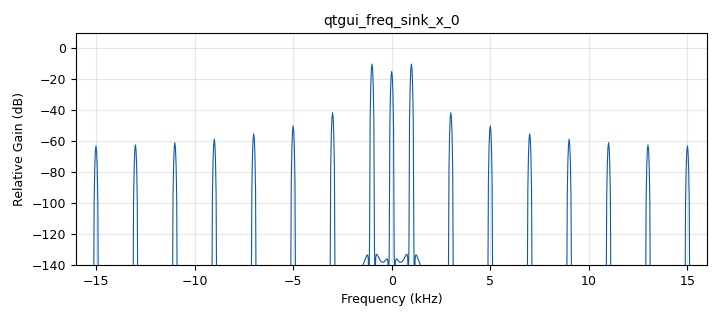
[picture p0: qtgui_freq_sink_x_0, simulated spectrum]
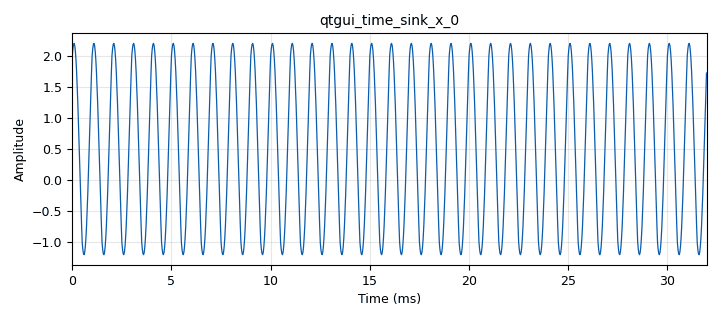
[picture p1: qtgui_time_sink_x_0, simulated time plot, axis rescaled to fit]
options:
  parameters:
    generate_options: qt_gui
    id: version1
    output_language: python
    title: Not titled yet
  states: {}

blocks:
- name: samp_rate
  id: variable
  parameters:
    value: '32000'
  states: {}
- name: analog_sig_source_x_0
  id: analog_sig_source_x
  parameters:
    amp: '1'
    freq: '1000'
    offset: '0'
    phase: '0'
    samp_rate: samp_rate
    type: float
    waveform: analog.GR_COS_WAVE
  states: {}
- name: analog_sig_source_x_1
  id: analog_sig_source_x
  parameters:
    amp: '1'
    freq: '1000'
    offset: '0'
    phase: '0'
    samp_rate: samp_rate
    type: float
    waveform: analog.GR_SIN_WAVE
  states: {}
- name: analog_sig_source_x_2
  id: analog_sig_source_x
  parameters:
    amp: '1'
    freq: '1000'
    offset: '0'
    phase: '0'
    samp_rate: samp_rate
    type: float
    waveform: analog.GR_TRI_WAVE
  states: {}
- name: blocks_add_xx_0
  id: blocks_add_xx
  parameters:
    num_inputs: '3'
    type: float
  states: {}
- name: qtgui_freq_sink_x_0
  id: qtgui_freq_sink_x
  parameters:
    bw: samp_rate
    fc: '0'
    fftsize: '1024'
    type: float
  states: {}
- name: qtgui_time_sink_x_0
  id: qtgui_time_sink_x
  parameters:
    size: '1024'
    srate: samp_rate
    type: float
  states: {}

connections:
- [analog_sig_source_x_0, '0', blocks_add_xx_0, '0']
- [analog_sig_source_x_1, '0', blocks_add_xx_0, '1']
- [analog_sig_source_x_2, '0', blocks_add_xx_0, '2']
- [blocks_add_xx_0, '0', qtgui_freq_sink_x_0, '0']
- [blocks_add_xx_0, '0', qtgui_time_sink_x_0, '0']

metadata:
  file_format: 1
  grc_version: 3.9.8.0
